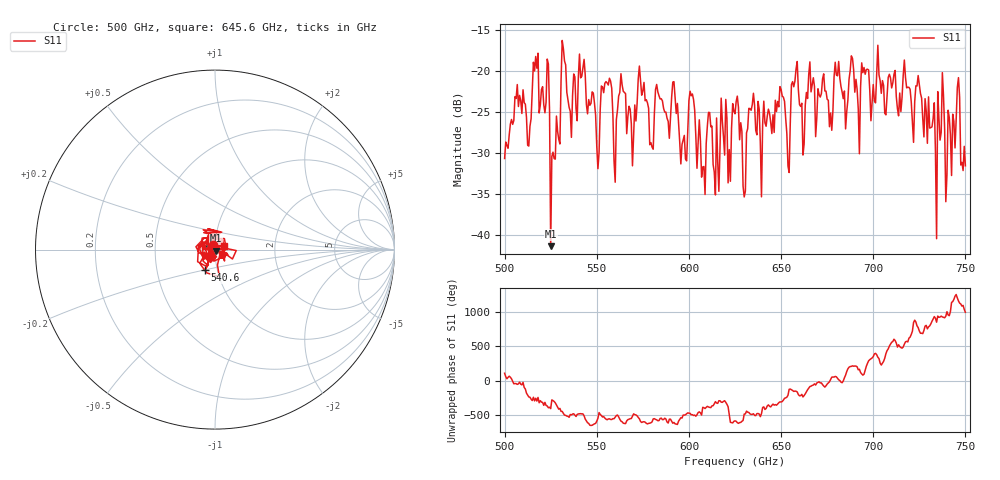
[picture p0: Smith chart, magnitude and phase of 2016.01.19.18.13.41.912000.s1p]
!Created with skrf (http://scikit-rf.org).
# GHz S RI R 50.0
!freq ReS11 ImS11
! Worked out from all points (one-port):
!   401 points, 500 GHz to 750 GHz, reference 50 ohm
!   lowest |S11| = -41.4 dB at 525 GHz (marker M1), VSWR 1.02, Z = 50.6 - j0.559 ohm
!   |S11| at or under -10 dB: start of sweep to end of sweep
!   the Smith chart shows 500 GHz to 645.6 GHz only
!   S11 on the Smith chart (normalised r, x): 500 GHz: 0.98, +0.05; 540.6 GHz: 0.87, -0.20; 645.6 GHz: 1.10, +0.05
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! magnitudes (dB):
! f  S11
! 500 GHz  -30.7
! 506.9 GHz  -21.6
! 513.1 GHz  -29.2
! 516.9 GHz  -18.2
! 525 GHz  -41.4
! 526.2 GHz  -29.9
! 531.2 GHz  -16.2
! 540.6 GHz  -17.9
! 550.6 GHz  -31.9
! 553.8 GHz  -22.6
! 560 GHz  -33.6
! 562.5 GHz  -22.6
! 593.8 GHz  -24.0
! 597.5 GHz  -27.9
! 601.2 GHz  -23.0
! 615 GHz  -25.7
! 625 GHz  -25.2
! 630 GHz  -35.4
! 633.8 GHz  -24.8
! 645.6 GHz  -25.3
! 650.6 GHz  -23.0
! 653.8 GHz  -31.6
! 656.2 GHz  -21.3
! 687.5 GHz  -19.9
! 718.8 GHz  -22.0
! 733.1 GHz  -23.9
! 745.6 GHz  -22.0
! 750 GHz  -31.6
